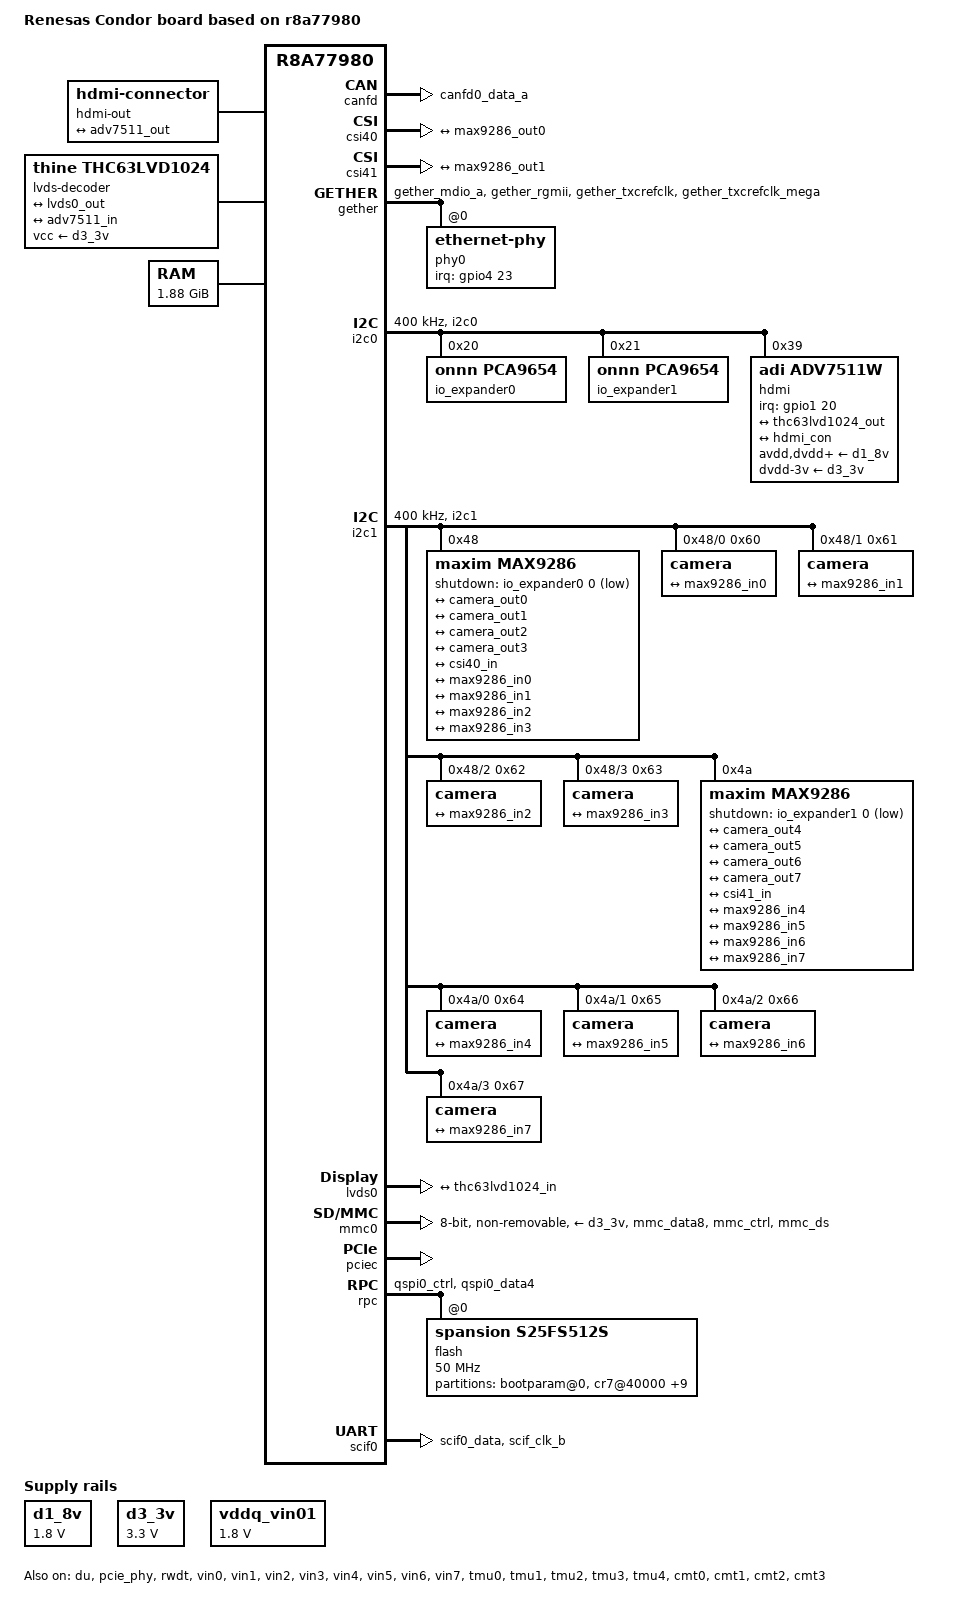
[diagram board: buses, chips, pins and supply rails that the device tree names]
// SPDX-License-Identifier: GPL-2.0
/*
 * Device Tree Source for the Condor board
 *
 * Copyright (C) 2018-2020 Renesas Electronics Corp.
 * Copyright (C) 2018-2020 Cogent Embedded, Inc.
 */

/dts-v1/;
#include "r8a77980.dtsi"
#include <dt-bindings/gpio/gpio.h>
#include "camera.dtsi"

/ {
	model = "Renesas Condor board based on r8a77980";
	compatible = "renesas,condor", "renesas,r8a77980";

	aliases {
		serial0 = &scif0;
		ethernet0 = &gether;
	};

	chosen {
		stdout-path = "serial0:115200n8";
	};

	d1_8v: regulator-2 {
		compatible = "regulator-fixed";
		regulator-name = "D1.8V";
		regulator-min-microvolt = <1800000>;
		regulator-max-microvolt = <1800000>;
		regulator-boot-on;
		regulator-always-on;
	};

	d3_3v: regulator-0 {
		compatible = "regulator-fixed";
		regulator-name = "D3.3V";
		regulator-min-microvolt = <3300000>;
		regulator-max-microvolt = <3300000>;
		regulator-boot-on;
		regulator-always-on;
	};

	hdmi-out {
		compatible = "hdmi-connector";
		type = "a";

		port {
			hdmi_con: endpoint {
				remote-endpoint = <&adv7511_out>;
			};
		};
	};

	lvds-decoder {
		compatible = "thine,thc63lvd1024";
		vcc-supply = <&d3_3v>;

		ports {
			#address-cells = <1>;
			#size-cells = <0>;

			port@1 {
				reg = <1>;
				thc63lvd1024_in: endpoint {
					remote-endpoint = <&lvds0_out>;
				};
			};

			port@2 {
				reg = <2>;
				thc63lvd1024_out: endpoint {
					remote-endpoint = <&adv7511_in>;
				};
			};
		};
	};

	memory@48000000 {
		device_type = "memory";
		/* first 128MB is reserved for secure area. */
		reg = <0 0x48000000 0 0x78000000>;
	};

	reserved-memory {
		#address-cells = <2>;
		#size-cells = <2>;
		ranges;

		/* device specific region for contiguous allocations */
		mmp_reserved: linux,multimedia@7f000000 {
			compatible = "shared-dma-pool";
			reusable;
			reg = <0x00000000 0x7f000000 0x0 0x01000000>;
		};
	};

	reserved-memory {
		#address-cells = <2>;
		#size-cells = <2>;
		ranges;

		/* global autoconfigured region for contiguous allocations */
		linux,cma@58000000 {
			compatible = "shared-dma-pool";
			reusable;
			reg = <0x00000000 0x58000000 0x0 0x18000000>;
			linux,cma-default;
		};
	};

	mmngr {
		compatible = "renesas,mmngr";
		memory-region = <&mmp_reserved>;
	};

	mmngrbuf {
		compatible = "renesas,mmngrbuf";
	};

	vddq_vin01: regulator-1 {
		compatible = "regulator-fixed";
		regulator-name = "VDDQ_VIN01";
		regulator-min-microvolt = <1800000>;
		regulator-max-microvolt = <1800000>;
		regulator-boot-on;
		regulator-always-on;
	};

	x1_clk: x1-clock {
		compatible = "fixed-clock";
		#clock-cells = <0>;
		clock-frequency = <148500000>;
	};
};

&canfd {
	pinctrl-0 = <&canfd0_pins>;
	pinctrl-names = "default";
	status = "okay";

	channel0 {
		status = "okay";
	};
};

&csi40 {
	status = "okay";

	ports {
		#address-cells = <1>;
		#size-cells = <0>;

		port@0 {
			reg = <0>;

			csi40_in: endpoint {
				clock-lanes = <0>;
				data-lanes = <1 2 3 4>;
				remote-endpoint = <&max9286_out0>;
			};
		};
	};
};

&csi41 {
	status = "okay";

	ports {
		#address-cells = <1>;
		#size-cells = <0>;

		port@0 {
			reg = <0>;

			csi41_in: endpoint {
				clock-lanes = <0>;
				data-lanes = <1 2 3 4>;
				remote-endpoint = <&max9286_out1>;
			};
		};
	};
};

&du {
	clocks = <&cpg CPG_MOD 724>,
		 <&x1_clk>;
	clock-names = "du.0", "dclkin.0";
	status = "okay";
};

&extal_clk {
	clock-frequency = <16666666>;
};

&extalr_clk {
	clock-frequency = <32768>;
};

&gether {
	pinctrl-0 = <&gether_pins>;
	pinctrl-names = "default";

	phy-mode = "rgmii-id";
	phy-handle = <&phy0>;
	renesas,no-ether-link;
	status = "okay";

	phy0: ethernet-phy@0 {
		rxc-skew-ps = <1500>;
		reg = <0>;
		interrupt-parent = <&gpio4>;
		interrupts = <23 IRQ_TYPE_LEVEL_LOW>;
	};
};

&i2c0 {
	pinctrl-0 = <&i2c0_pins>;
	pinctrl-names = "default";

	status = "okay";
	clock-frequency = <400000>;

	io_expander0: gpio@20 {
		compatible = "onnn,pca9654";
		reg = <0x20>;
		gpio-controller;
		#gpio-cells = <2>;
	};

	io_expander1: gpio@21 {
		compatible = "onnn,pca9654";
		reg = <0x21>;
		gpio-controller;
		#gpio-cells = <2>;
	};

	hdmi@39 {
		compatible = "adi,adv7511w";
		reg = <0x39>;
		interrupt-parent = <&gpio1>;
		interrupts = <20 IRQ_TYPE_LEVEL_LOW>;
		avdd-supply = <&d1_8v>;
		dvdd-supply = <&d1_8v>;
		pvdd-supply = <&d1_8v>;
		bgvdd-supply = <&d1_8v>;
		dvdd-3v-supply = <&d3_3v>;

		adi,input-depth = <8>;
		adi,input-colorspace = "rgb";
		adi,input-clock = "1x";

		ports {
			#address-cells = <1>;
			#size-cells = <0>;

			port@0 {
				reg = <0>;
				adv7511_in: endpoint {
					remote-endpoint = <&thc63lvd1024_out>;
				};
			};

			port@1 {
				reg = <1>;
				adv7511_out: endpoint {
					remote-endpoint = <&hdmi_con>;
				};
			};
		};
	};
};

&i2c1 {
	pinctrl-0 = <&i2c1_pins>;
	pinctrl-names = "default";

	status = "okay";
	clock-frequency = <400000>;

	max9286@48 {
		compatible = "maxim,max9286";
		#address-cells = <1>;
		#size-cells = <0>;
		reg = <0x48>;
		regs = <0x0c 0x0d 0x0e 0x0f>;
		shutdown-gpios = <&io_expander0 0 GPIO_ACTIVE_LOW>;
		maxim,fsync-mode = "automatic";
		maxim,gpio0 = <0>;

		ports {
			#address-cells = <1>;
			#size-cells = <0>;

			port@0 {
				reg = <0>;
				max9286_in0: endpoint {
					remote-endpoint = <&camera_out0>;
				};
			};

			port@1 {
				reg = <1>;
				max9286_in1: endpoint {
					remote-endpoint = <&camera_out1>;
				};
			};

			port@2 {
				reg = <2>;
				max9286_in2: endpoint {
					remote-endpoint = <&camera_out2>;
				};
			};

			port@3 {
				reg = <3>;
				max9286_in3: endpoint {
					remote-endpoint = <&camera_out3>;
				};
			};

			port@4 {
				reg = <4>;
				max9286_out0: endpoint {
					clock-lanes = <0>;
					data-lanes = <1 2 3 4>;
					remote-endpoint = <&csi40_in>;
				};
			};
		};

		i2c@0 {
			#address-cells = <1>;
			#size-cells = <0>;
			reg = <0>;

			camera@60 {
				compatible = LVDS_CAMERA;
				reg = <0x60 0x0c>;

				port {
					camera_out0: endpoint {
						remote-endpoint = <&max9286_in0>;
					};
				};
			};
		};

		i2c@1 {
			#address-cells = <1>;
			#size-cells = <0>;
			reg = <1>;

			camera@61 {
				compatible = LVDS_CAMERA;
				reg = <0x61 0x0d>;

				port {
					camera_out1: endpoint {
						remote-endpoint = <&max9286_in1>;
					};
				};
			};
		};

		i2c@2 {
			#address-cells = <1>;
			#size-cells = <0>;
			reg = <2>;

			camera@62 {
				compatible = LVDS_CAMERA;
				reg = <0x62 0x0e>;

				port {
					camera_out2: endpoint {
						remote-endpoint = <&max9286_in2>;
					};
				};
			};
		};

		i2c@3 {
			#address-cells = <1>;
			#size-cells = <0>;
			reg = <3>;

			camera@63 {
				compatible = LVDS_CAMERA;
				reg = <0x63 0x0f>;

				port {
					camera_out3: endpoint {
						remote-endpoint = <&max9286_in3>;
					};
				};
			};
		};
	};

	max9286@4a {
		compatible = "maxim,max9286";
		#address-cells = <1>;
		#size-cells = <0>;
		reg = <0x4a>;
		regs = <0x1c 0x1d 0x1e 0x1f>;
		shutdown-gpios = <&io_expander1 0 GPIO_ACTIVE_LOW>;
		maxim,fsync-mode = "automatic";
		maxim,gpio0 = <0>;

		ports {
			#address-cells = <1>;
			#size-cells = <0>;

			port@0 {
				reg = <0>;
				max9286_in4: endpoint {
					remote-endpoint = <&camera_out4>;
				};
			};

			port@1 {
				reg = <1>;
				max9286_in5: endpoint {
					remote-endpoint = <&camera_out5>;
				};
			};

			port@2 {
				reg = <2>;
				max9286_in6: endpoint {
					remote-endpoint = <&camera_out6>;
				};
			};

			port@3 {
				reg = <3>;
				max9286_in7: endpoint {
					remote-endpoint = <&camera_out7>;
				};
			};

			port@4 {
				reg = <4>;
				max9286_out1: endpoint {
					clock-lanes = <0>;
					data-lanes = <1 2 3 4>;
					remote-endpoint = <&csi41_in>;
				};
			};
		};

		i2c@0 {
			#address-cells = <1>;
			#size-cells = <0>;
			reg = <0>;

			camera@64 {
				compatible = LVDS_CAMERA;
				reg = <0x64 0x1c>;

				port {
					camera_out4: endpoint {
						remote-endpoint = <&max9286_in4>;
					};
				};
			};
		};

		i2c@1 {
			#address-cells = <1>;
			#size-cells = <0>;
			reg = <1>;

			camera@65 {
				compatible = LVDS_CAMERA;
				reg = <0x65 0x1d>;

				port {
					camera_out5: endpoint {
						remote-endpoint = <&max9286_in5>;
					};
				};
			};
		};

		i2c@2 {
			#address-cells = <1>;
			#size-cells = <0>;
			reg = <2>;

			camera@66 {
				compatible = LVDS_CAMERA;
				reg = <0x66 0x1e>;

				port {
					camera_out6: endpoint {
						remote-endpoint = <&max9286_in6>;
					};
				};
			};
		};

		i2c@3 {
			#address-cells = <1>;
			#size-cells = <0>;
			reg = <3>;

			camera@67 {
				compatible = LVDS_CAMERA;
				reg = <0x67 0x1f>;

				port {
					camera_out7: endpoint {
						remote-endpoint = <&max9286_in7>;
					};
				};
			};
		};
	};

};

&lvds0 {
	status = "okay";

	ports {
		port@1 {
			lvds0_out: endpoint {
				remote-endpoint = <&thc63lvd1024_in>;
			};
		};
	};
};

&mmc0 {
	pinctrl-0 = <&mmc_pins>;
	pinctrl-1 = <&mmc_pins>;
	pinctrl-names = "default", "state_uhs";

	vmmc-supply = <&d3_3v>;
	vqmmc-supply = <&vddq_vin01>;
	mmc-hs200-1_8v;
	bus-width = <8>;
	no-sd;
	no-sdio;
	non-removable;
	status = "okay";
};

&pciec {
	status = "okay";
};

&pcie_bus_clk {
	clock-frequency = <100000000>;
};

&pcie_phy {
	status = "okay";
};

&pfc {
	canfd0_pins: canfd0 {
		groups = "canfd0_data_a";
		function = "canfd0";
	};

	gether_pins: gether {
		groups = "gether_mdio_a", "gether_rgmii",
			 "gether_txcrefclk", "gether_txcrefclk_mega";
		function = "gether";
	};

	i2c0_pins: i2c0 {
		groups = "i2c0";
		function = "i2c0";
	};

	i2c1_pins: i2c1 {
		groups = "i2c1";
		function = "i2c1";
	};

	mmc_pins: mmc {
		groups = "mmc_data8", "mmc_ctrl", "mmc_ds";
		function = "mmc";
		power-source = <1800>;
	};

	qspi0_pins: qspi0 {
		groups = "qspi0_ctrl", "qspi0_data4";
		function = "qspi0";
	};

	scif0_pins: scif0 {
		groups = "scif0_data";
		function = "scif0";
	};

	scif_clk_pins: scif_clk {
		groups = "scif_clk_b";
		function = "scif_clk";
	};
};

&rpc {
	pinctrl-0 = <&qspi0_pins>;
	pinctrl-names = "default";

	status = "okay";

	flash@0 {
		compatible = "spansion,s25fs512s", "jedec,spi-nor";
		reg = <0>;
		spi-max-frequency = <50000000>;
		spi-rx-bus-width = <4>;

		partitions {
			compatible = "fixed-partitions";
			#address-cells = <1>;
			#size-cells = <1>;

			bootparam@0 {
				reg = <0x00000000 0x040000>;
				read-only;
			};
			cr7@40000 {
				reg = <0x00040000 0x080000>;
				read-only;
			};
			cert_header_sa3@c0000 {
				reg = <0x000c0000 0x080000>;
				read-only;
			};
			bl2@140000 {
				reg = <0x00140000 0x040000>;
				read-only;
			};
			cert_header_sa6@180000 {
				reg = <0x00180000 0x040000>;
				read-only;
			};
			bl31@1c0000 {
				reg = <0x001c0000 0x460000>;
				read-only;
			};
			uboot@640000 {
				reg = <0x00640000 0x0c0000>;
				read-only;
			};
			uboot-env@700000 {
				reg = <0x00700000 0x040000>;
				read-only;
			};
			dtb@740000 {
				reg = <0x00740000 0x080000>;
			};
			kernel@7c0000 {
				reg = <0x007c0000 0x1400000>;
			};
			user@1bc0000 {
				reg = <0x01bc0000 0x2440000>;
			};
		};
	};
};

&rwdt {
	timeout-sec = <60>;
	status = "okay";
};

&scif0 {
	pinctrl-0 = <&scif0_pins>, <&scif_clk_pins>;
	pinctrl-names = "default";

	status = "okay";
};

&scif_clk {
	clock-frequency = <14745600>;
};

&vin0 {
	status = "okay";
};

&vin1 {
	status = "okay";
};

&vin2 {
	status = "okay";
};

&vin3 {
	status = "okay";
};

&vin4 {
	status = "okay";
};

&vin5 {
	status = "okay";
};

&vin6 {
	status = "okay";
};

&vin7 {
	status = "okay";
};

&tmu0 {
	status = "okay";
};

&tmu1 {
	status = "okay";
};

&tmu2 {
	status = "okay";
};

&tmu3 {
	status = "okay";
};

&tmu4 {
	status = "okay";
};

&cmt0 {
	status = "okay";
};

&cmt1 {
	status = "okay";
};

&cmt2 {
	status = "okay";
};

&cmt3 {
	status = "okay";
};
